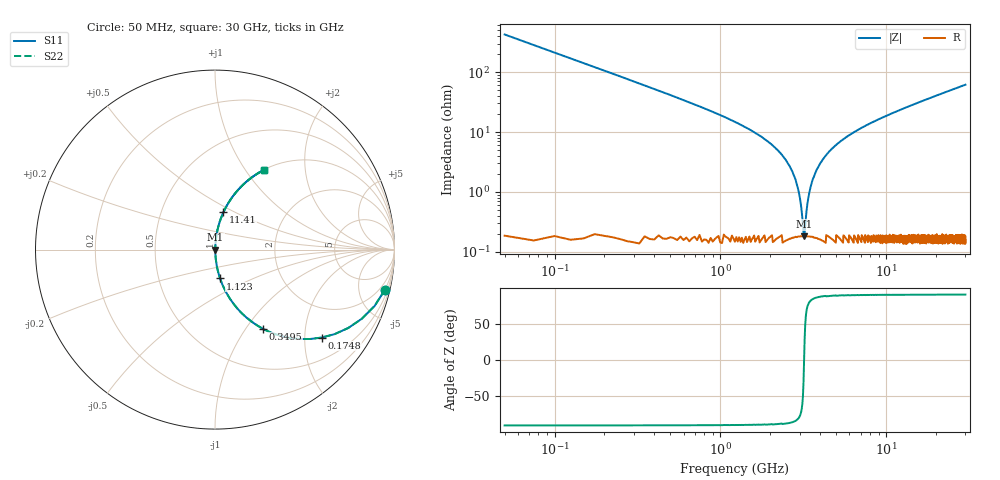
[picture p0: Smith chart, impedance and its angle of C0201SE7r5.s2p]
!	AVX Thin Film Operation 	Date: April 2014
!	Description: Accu-P® Series, Thin Film  SMD RF Capacitor
!	Part Number: 0201YK7R5BBSTR
# MHZ S MA R 50
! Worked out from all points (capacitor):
!   1201 points, 50 MHz to 30 GHz, reference 50 ohm
!   read as one part in series: C = 7.5 pF near 199.8 MHz
!   lowest |Z| = 183 mohm at 3.195 GHz (marker M1)
!   series resonance near 3.197 GHz, so ESL is about 330 pH
!   S11 on the Smith chart (normalised r, x): 50 MHz: 1.01, -8.48; 174.8 MHz: 1.00, -2.42; 349.5 MHz: 1.00, -1.20; 1.123 GHz: 1.00, -0.33; 11.41 GHz: 1.00, +0.44; 30 GHz: 1.00, +1.23
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50  0.973 -13.3  0.229 76.7  0.229 76.7  0.973 -13.3
174.792  0.77 -39.5  0.636 50.4  0.636 50.4  0.77 -39.5
349.5  0.514 -58.9  0.856 30.9  0.856 30.9  0.514 -58.9
624.042  0.31 -71.6  0.949 18.1  0.949 18.1  0.31 -71.6
1123.208  0.163 -80.0  0.985 9.4  0.985 9.4  0.163 -80.0
2146.5  0.054 -85.1  0.997 3.1  0.997 3.1  0.054 -85.1
2570.792  0.029 -85.1  0.998 1.7  0.998 1.7  0.029 -85.1
2870.292  0.014 -82.6  0.998 0.8  0.998 0.8  0.014 -82.6
3094.917  0.004593 -68.6  0.998 0.2  0.998 0.2  0.004593 -68.6
3194.75  0.001659 -2.6  0.998 0.0  0.998 0.0  0.001659 -2.6
3294.583  0.004334 67.3  0.998 -0.2  0.998 -0.2  0.004334 67.3
3544.167  0.014 82.3  0.998 -0.8  0.998 -0.8  0.014 82.3
3843.667  0.025 84.7  0.998 -1.4  0.998 -1.4  0.025 84.7
4392.75  0.043 85.3  0.997 -2.5  0.997 -2.5  0.043 85.3
5041.667  0.062 84.9  0.996 -3.6  0.996 -3.6  0.062 84.9
7013.375  0.114 82.6  0.992 -6.6  0.992 -6.6  0.114 82.6
10058.29  0.184 78.9  0.981 -10.6  0.981 -10.6  0.184 78.9
11406.04  0.213 77.3  0.975 -12.3  0.975 -12.3  0.213 77.3
15025  0.285 73.1  0.957 -16.6  0.957 -16.6  0.285 73.1
20016.67  0.375 67.7  0.926 -22.0  0.926 -22.0  0.375 67.7
25033.29  0.455 62.8  0.889 -27.0  0.889 -27.0  0.455 62.8
30000  0.524 58.3  0.85 -31.6  0.85 -31.6  0.524 58.3
